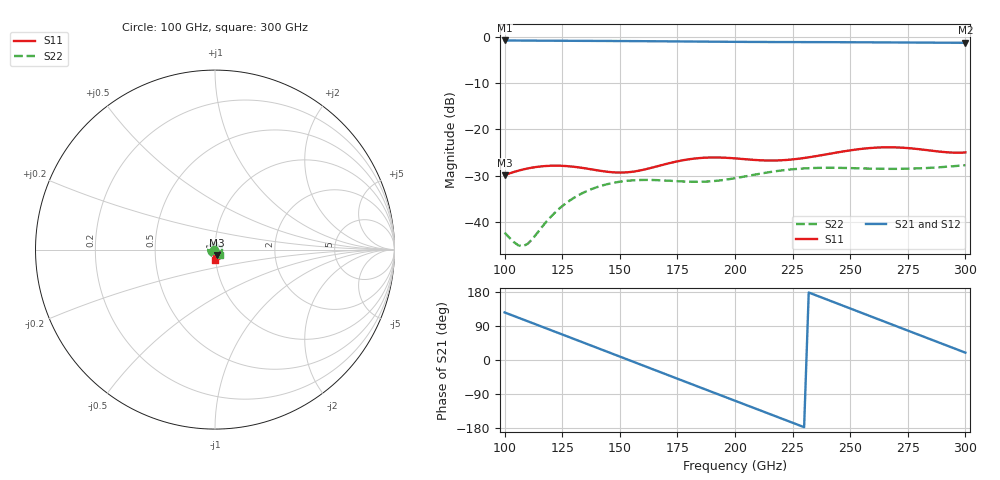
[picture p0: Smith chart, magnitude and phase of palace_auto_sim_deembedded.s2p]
! Created with skrf 1.11.0 (http://scikit-rf.org).
# GHz S DB R 50.0
!freq dBS11 angS11 dBS21 angS21 dBS12 angS12 dBS22 angS22
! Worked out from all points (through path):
!   101 points, 100 GHz to 300 GHz, reference 50 ohm
!   highest |S21| = -0.80 dB at 100 GHz (marker M1); lowest = -1.3 dB at 300 GHz (marker M2)
!   group delay of S21, straight-line fit = 6.48 ps
!   lowest |S11| = -29.9 dB at 100 GHz (marker M3), VSWR 1.07, Z = 51 - j3.08 ohm
!   |S11| at or under -10 dB: start of sweep to end of sweep
!   |S22| runs from -45.2 to -27.7 dB; largest |S21 - S12| = 1e-13
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100  -29.89 -70.2  -0.80 125.5  -0.80 125.5  -42.29 -165.7
106  -28.91 -74.6  -0.82 111.6  -0.82 111.6  -45.05 145.5
110  -28.44 -78.0  -0.83 102.3  -0.83 102.3  -44.72 103.1
122  -27.84 -88.6  -0.86 74.4  -0.86 74.4  -37.89 24.2
134  -28.34 -95.7  -0.89 46.4  -0.89 46.4  -33.71 -21.6
144  -29.12 -95.0  -0.91 23.1  -0.91 23.1  -31.90 -56.7
152  -29.31 -89.9  -0.93 4.4  -0.93 4.4  -31.17 -85.4
160  -28.74 -84.5  -0.96 -14.3  -0.96 -14.3  -30.92 -115.7
168  -27.74 -82.5  -0.98 -33.0  -0.98 -33.0  -31.00 -148.3
184  -26.22 -87.9  -1.04 -70.3  -1.04 -70.3  -31.32 137.8
192  -26.06 -91.8  -1.07 -88.9  -1.07 -88.9  -31.10 97.9
200  -26.26 -94.3  -1.10 -107.5  -1.10 -107.5  -30.54 58.2
208  -26.58 -94.2  -1.12 -126.1  -1.12 -126.1  -29.83 19.9
218  -26.71 -90.8  -1.14 -149.3  -1.14 -149.3  -29.01 -26.0
226  -26.43 -87.5  -1.15 -168.0  -1.15 -168.0  -28.57 -61.7
234  -25.87 -85.1  -1.16 173.4  -1.16 173.4  -28.34 -97.3
242  -25.19 -84.4  -1.17 154.7  -1.17 154.7  -28.29 -133.2
252  -24.39 -86.2  -1.19 131.3  -1.19 131.3  -28.38 -179.0
268  -23.87 -92.4  -1.23 94.0  -1.23 94.0  -28.53 105.2
282  -24.40 -95.6  -1.26 61.3  -1.26 61.3  -28.37 37.4
292  -24.94 -92.8  -1.29 38.0  -1.29 38.0  -28.06 -10.9
300  -24.98 -87.7  -1.31 19.4  -1.31 19.4  -27.73 -49.1
